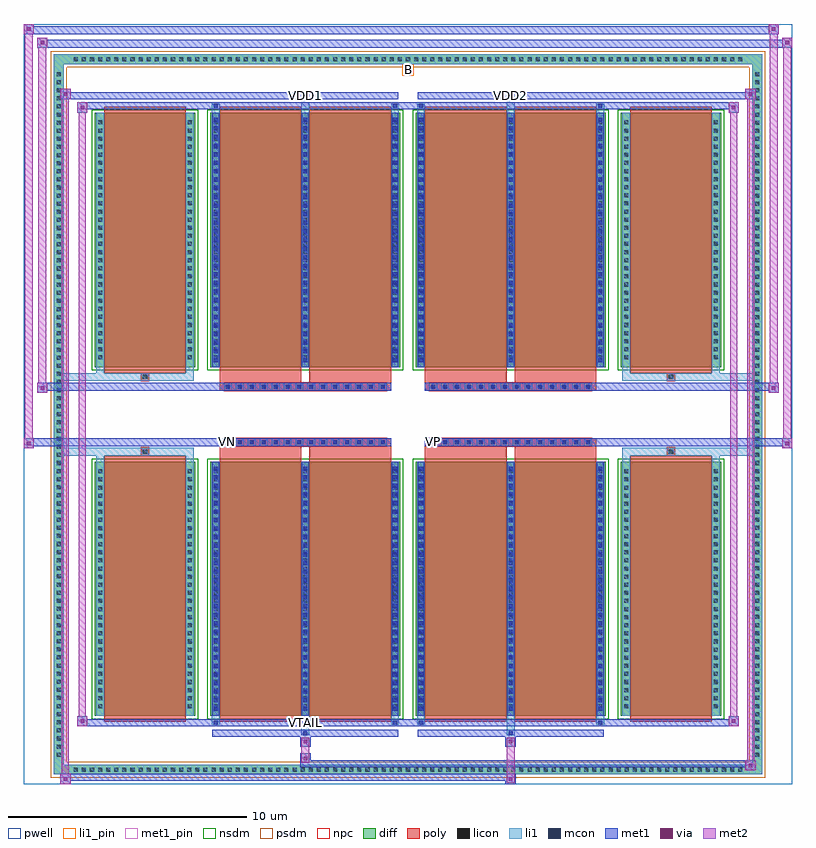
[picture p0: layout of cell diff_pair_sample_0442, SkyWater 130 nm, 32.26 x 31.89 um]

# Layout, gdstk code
import gdstk
lib = gdstk.Library(unit=1e-6, precision=5e-09)
def R(c, l, rs):  # rectangles x0, y0, x1, y1
    for r in rs: c.add(gdstk.rectangle(r[:2], r[2:], *l))
def A(c, l, x, y, w, h, nx, ny, dx, dy):  # array of equal rectangles
    R(c, l, [(x+i*dx, y+j*dy, x+i*dx+w, y+j*dy+h) for i in range(nx) for j in range(ny)])
def P(c, l, *ps):  # polygons
    for p in ps: c.add(gdstk.Polygon(p, *l))
pwell = (64, 44)
diff = (65, 20)
poly = (66, 20)
licon = (66, 44)
li1_pin = (67, 16)
li1 = (67, 20)
mcon = (67, 44)
met1_pin = (68, 16)
met1 = (68, 20)
via = (68, 44)
met2 = (69, 20)
nsdm = (93, 44)
psdm = (94, 20)
npc = (95, 20)

diff_pair_sample_0442 = lib.new_cell('diff_pair_sample_0442')
R(diff_pair_sample_0442, pwell, [(-16.13,-15.51,16.13,16.38), (-13.45,-13.7,-0.01,-0.8), (0.01,-13.7,13.45,-0.8), (-13.45,0.8,-0.01,13.7), (0.01,0.8,13.45,13.7)])
A(diff_pair_sample_0442, diff, -14.145, -15.11, 0.41, 0.41, 83, 2, 0.34, 29.81)
A(diff_pair_sample_0442, diff, -14.86, -14.485, 0.41, 0.41, 1, 85, 0, 0.34)
A(diff_pair_sample_0442, diff, 14.45, -14.485, 0.41, 0.41, 1, 85, 0, 0.34)
R(diff_pair_sample_0442, diff, [(-14.145,-15.11,14.145,-14.7), (-14.86,-14.485,-14.45,14.485), (14.45,-14.485,14.86,14.485), (-13.14,-12.655,-8.93,-1.985), (-8.29,-12.655,-0.32,-1.985), (0.32,-12.655,8.29,-1.985), (8.93,-12.655,13.14,-1.985), (-13.14,1.985,-8.93,12.655), (-8.29,1.985,-0.32,12.655), (0.32,1.985,8.29,12.655), (8.93,1.985,13.14,12.655), (-14.145,14.7,14.145,15.11)])
P(diff_pair_sample_0442, diff, [(14.86,15.11),(-14.86,15.11),(-14.86,-14.7),(-14.45,-14.7),(-14.45,14.7),(14.45,14.7),(14.45,-14.7),(-14.45,-14.7),(-14.86,-14.7),(-14.86,-15.11),(14.86,-15.11)])
A(diff_pair_sample_0442, poly, -7.72, -1.33, 0.33, 0.33, 14, 2, 0.5, 2.33)
A(diff_pair_sample_0442, poly, 0.89, -1.33, 0.33, 0.33, 14, 2, 0.5, 2.33)
R(diff_pair_sample_0442, poly, [(-12.75,-12.905,-9.32,-1.735), (-7.9,-12.905,-4.47,-1.735), (-4.14,-12.905,-0.71,-1.735), (0.71,-12.905,4.14,-1.735), (4.47,-12.905,7.9,-1.735), (9.32,-12.905,12.75,-1.735), (-11.2,-1.735,-10.87,-1.405), (-11.2,-1.735,-10.87,-1.405), (-7.9,-1.735,-4.47,-1.33), (-4.14,-1.735,-0.71,-1.33), (0.71,-1.735,4.14,-1.33), (4.47,-1.735,7.9,-1.33), (10.87,-1.735,11.2,-1.405), (10.87,-1.735,11.2,-1.405), (-7.9,-1.33,-0.71,-1), (0.71,-1.33,7.9,-1), (-7.9,1,-0.71,1.33), (0.71,1,7.9,1.33), (-7.9,1.33,-4.47,1.735), (-4.14,1.33,-0.71,1.735), (0.71,1.33,4.14,1.735), (4.47,1.33,7.9,1.735), (-11.2,1.405,-10.87,1.735), (-11.2,1.405,-10.87,1.735), (10.87,1.405,11.2,1.735), (10.87,1.405,11.2,1.735), (-12.75,1.735,-9.32,12.905), (-7.9,1.735,-4.47,12.905), (-4.14,1.735,-0.71,12.905), (0.71,1.735,4.14,12.905), (4.47,1.735,7.9,12.905), (9.32,1.735,12.75,12.905)])
A(diff_pair_sample_0442, licon, -14.025, -14.99, 0.17, 0.17, 83, 2, 0.34, 29.81)
A(diff_pair_sample_0442, licon, -14.74, -14.365, 0.17, 0.17, 1, 85, 0, 0.34)
A(diff_pair_sample_0442, licon, 14.57, -14.365, 0.17, 0.17, 1, 85, 0, 0.34)
A(diff_pair_sample_0442, licon, -13, -12.335, 0.17, 0.17, 1, 30, 0, 0.34)
A(diff_pair_sample_0442, licon, -9.24, -12.335, 0.17, 0.17, 1, 30, 0, 0.34)
A(diff_pair_sample_0442, licon, -8.15, -12.335, 0.17, 0.17, 3, 30, 3.76, 0.34)
A(diff_pair_sample_0442, licon, 0.46, -12.335, 0.17, 0.17, 3, 30, 3.76, 0.34)
A(diff_pair_sample_0442, licon, 9.07, -12.335, 0.17, 0.17, 1, 30, 0, 0.34)
A(diff_pair_sample_0442, licon, 12.83, -12.335, 0.17, 0.17, 1, 30, 0, 0.34)
A(diff_pair_sample_0442, licon, -7.64, -1.25, 0.17, 0.17, 14, 2, 0.5, 2.33)
A(diff_pair_sample_0442, licon, 0.97, -1.25, 0.17, 0.17, 14, 2, 0.5, 2.33)
A(diff_pair_sample_0442, licon, -13, 2.305, 0.17, 0.17, 1, 30, 0, 0.34)
A(diff_pair_sample_0442, licon, -9.24, 2.305, 0.17, 0.17, 1, 30, 0, 0.34)
A(diff_pair_sample_0442, licon, -8.15, 2.305, 0.17, 0.17, 3, 30, 3.76, 0.34)
A(diff_pair_sample_0442, licon, 0.46, 2.305, 0.17, 0.17, 3, 30, 3.76, 0.34)
A(diff_pair_sample_0442, licon, 9.07, 2.305, 0.17, 0.17, 1, 30, 0, 0.34)
A(diff_pair_sample_0442, licon, 12.83, 2.305, 0.17, 0.17, 1, 30, 0, 0.34)
R(diff_pair_sample_0442, licon, [(-11.12,-1.655,-10.95,-1.485), (10.95,-1.655,11.12,-1.485), (-11.12,1.485,-10.95,1.655), (10.95,1.485,11.12,1.655)])
R(diff_pair_sample_0442, li1_pin, [(-0.25,14.2,0.25,14.7)])
A(diff_pair_sample_0442, li1, -14.105, -15.07, 0.33, 0.33, 83, 2, 0.34, 29.81)
A(diff_pair_sample_0442, li1, -14.82, -14.445, 0.33, 0.33, 1, 85, 0, 0.34)
A(diff_pair_sample_0442, li1, 14.49, -14.445, 0.33, 0.33, 1, 85, 0, 0.34)
A(diff_pair_sample_0442, li1, -8.23, -12.655, 0.33, 10.67, 3, 2, 3.76, 14.64)
A(diff_pair_sample_0442, li1, 0.38, -12.655, 0.33, 10.67, 3, 2, 3.76, 14.64)
A(diff_pair_sample_0442, li1, -8.15, -12.445, 0.17, 0.17, 3, 29, 3.76, 0.36)
A(diff_pair_sample_0442, li1, -8.15, -12.445, 0.17, 10.25, 3, 2, 3.76, 14.64)
A(diff_pair_sample_0442, li1, 0.46, -12.445, 0.17, 0.17, 3, 29, 3.76, 0.36)
A(diff_pair_sample_0442, li1, 0.46, -12.445, 0.17, 10.25, 3, 2, 3.76, 14.64)
A(diff_pair_sample_0442, li1, -13.08, -12.415, 0.33, 0.33, 1, 30, 0, 0.34)
A(diff_pair_sample_0442, li1, -9.32, -12.415, 0.33, 0.33, 1, 30, 0, 0.34)
A(diff_pair_sample_0442, li1, -8.23, -12.415, 0.33, 0.33, 3, 30, 3.76, 0.34)
A(diff_pair_sample_0442, li1, 0.38, -12.415, 0.33, 0.33, 3, 30, 3.76, 0.34)
A(diff_pair_sample_0442, li1, 8.99, -12.415, 0.33, 0.33, 1, 30, 0, 0.34)
A(diff_pair_sample_0442, li1, 12.75, -12.415, 0.33, 0.33, 1, 30, 0, 0.34)
A(diff_pair_sample_0442, li1, -7.72, -1.33, 0.33, 0.33, 14, 2, 0.5, 2.33)
A(diff_pair_sample_0442, li1, 0.89, -1.33, 0.33, 0.33, 14, 2, 0.5, 2.33)
A(diff_pair_sample_0442, li1, -8.15, 2.195, 0.17, 0.17, 3, 29, 3.76, 0.36)
A(diff_pair_sample_0442, li1, 0.46, 2.195, 0.17, 0.17, 3, 29, 3.76, 0.36)
A(diff_pair_sample_0442, li1, -13.08, 2.225, 0.33, 0.33, 1, 30, 0, 0.34)
A(diff_pair_sample_0442, li1, -9.32, 2.225, 0.33, 0.33, 1, 30, 0, 0.34)
A(diff_pair_sample_0442, li1, -8.23, 2.225, 0.33, 0.33, 3, 30, 3.76, 0.34)
A(diff_pair_sample_0442, li1, 0.38, 2.225, 0.33, 0.33, 3, 30, 3.76, 0.34)
A(diff_pair_sample_0442, li1, 8.99, 2.225, 0.33, 0.33, 1, 30, 0, 0.34)
A(diff_pair_sample_0442, li1, 12.75, 2.225, 0.33, 0.33, 1, 30, 0, 0.34)
R(diff_pair_sample_0442, li1, [(-14.86,-15.11,-14.45,-14.7), (-14.86,-15.11,-14.45,-14.7), (-14.45,-15.11,14.45,-14.7), (14.45,-15.11,14.86,-14.7), (14.45,-15.11,14.86,-14.7), (-14.86,-14.7,-14.45,14.7), (14.45,-14.7,14.86,14.7), (-4.47,-13.46,-4.14,-12.655), (-4.39,-13.46,-4.22,-13.29), (4.14,-13.46,4.47,-12.655), (4.22,-13.46,4.39,-13.29), (-8.23,-13.03,-7.9,-12.655), (-8.15,-13.03,-7.98,-12.86), (-0.71,-13.03,-0.38,-12.655), (-0.63,-13.03,-0.46,-12.86), (0.38,-13.03,0.71,-12.655), (0.46,-13.03,0.63,-12.86), (7.9,-13.03,8.23,-12.655), (7.98,-13.03,8.15,-12.86), (-13.08,-12.655,-12.75,-1.985), (-9.32,-12.655,-8.99,-1.985), (8.99,-12.655,9.32,-1.985), (12.75,-12.655,13.08,-1.985), (-13.08,-1.985,-12.75,-1.405), (-9.32,-1.985,-8.99,-1.405), (8.99,-1.985,9.32,-1.405), (12.75,-1.985,13.08,-1.405), (-14.86,-1.735,-11.2,-1.405), (-13.08,-1.735,-11.2,-1.405), (-11.2,-1.735,-10.87,-1.405), (-10.87,-1.735,-8.99,-1.405), (8.99,-1.735,10.87,-1.405), (10.87,-1.735,11.2,-1.405), (10.87,-1.735,14.86,-1.405), (11.2,-1.735,13.08,-1.405), (-14.86,1.405,-11.2,1.735), (-13.08,1.405,-11.2,1.735), (-13.08,1.405,-12.75,1.985), (-11.2,1.405,-10.87,1.735), (-10.87,1.405,-8.99,1.735), (-9.32,1.405,-8.99,1.985), (8.99,1.405,10.87,1.735), (8.99,1.405,9.32,1.985), (10.87,1.405,11.2,1.735), (10.87,1.405,14.86,1.735), (11.2,1.405,13.08,1.735), (12.75,1.405,13.08,1.985), (-13.08,1.985,-12.75,12.655), (-9.32,1.985,-8.99,12.655), (8.99,1.985,9.32,12.655), (12.75,1.985,13.08,12.655), (-8.23,12.655,-7.9,13.03), (-4.47,12.655,-4.14,13.46), (-0.71,12.655,-0.38,13.03), (0.38,12.655,0.71,13.03), (4.14,12.655,4.47,13.46), (7.9,12.655,8.23,13.03), (-8.15,12.86,-7.98,13.03), (-0.63,12.86,-0.46,13.03), (0.46,12.86,0.63,13.03), (7.98,12.86,8.15,13.03), (-4.39,13.29,-4.22,13.46), (4.22,13.29,4.39,13.46), (-14.86,14.7,-14.45,15.11), (-14.86,14.7,-14.45,15.11), (-14.45,14.7,14.45,15.11), (14.45,14.7,14.86,15.11), (14.45,14.7,14.86,15.11)])
A(diff_pair_sample_0442, mcon, -8.15, -12.445, 0.17, 0.17, 3, 29, 3.76, 0.36)
A(diff_pair_sample_0442, mcon, 0.46, -12.445, 0.17, 0.17, 3, 29, 3.76, 0.36)
A(diff_pair_sample_0442, mcon, -7.64, -1.25, 0.17, 0.17, 14, 2, 0.5, 2.33)
A(diff_pair_sample_0442, mcon, 0.97, -1.25, 0.17, 0.17, 14, 2, 0.5, 2.33)
A(diff_pair_sample_0442, mcon, -8.15, 2.195, 0.17, 0.17, 3, 29, 3.76, 0.36)
A(diff_pair_sample_0442, mcon, 0.46, 2.195, 0.17, 0.17, 3, 29, 3.76, 0.36)
R(diff_pair_sample_0442, mcon, [(-4.39,-13.46,-4.22,-13.29), (4.22,-13.46,4.39,-13.29), (-8.15,-13.03,-7.98,-12.86), (-0.63,-13.03,-0.46,-12.86), (0.46,-13.03,0.63,-12.86), (7.98,-13.03,8.15,-12.86), (-8.15,12.86,-7.98,13.03), (-0.63,12.86,-0.46,13.03), (0.46,12.86,0.63,13.03), (7.98,12.86,8.15,13.03), (-4.39,13.29,-4.22,13.46), (4.22,13.29,4.39,13.46)])
R(diff_pair_sample_0442, met1_pin, [(-4.44,-13.07,-4.17,-12.8), (-7.69,-1.29,-7.42,-1.02), (0.92,-1.29,1.19,-1.02), (-4.44,13.25,-4.17,13.52), (4.17,13.25,4.44,13.52)])
A(diff_pair_sample_0442, met1, -8.21, -12.655, 0.29, 10.67, 3, 2, 3.76, 14.64)
A(diff_pair_sample_0442, met1, 0.4, -12.655, 0.29, 10.67, 3, 2, 3.76, 14.64)
A(diff_pair_sample_0442, met1, -8.21, -12.505, 0.29, 0.29, 3, 29, 3.76, 0.36)
A(diff_pair_sample_0442, met1, 0.4, -12.505, 0.29, 0.29, 3, 29, 3.76, 0.36)
A(diff_pair_sample_0442, met1, -7.7, -1.31, 0.29, 0.29, 14, 2, 0.5, 2.33)
A(diff_pair_sample_0442, met1, 0.91, -1.31, 0.29, 0.29, 14, 2, 0.5, 2.33)
A(diff_pair_sample_0442, met1, -8.21, 2.135, 0.29, 0.29, 3, 29, 3.76, 0.36)
A(diff_pair_sample_0442, met1, 0.4, 2.135, 0.29, 0.29, 3, 29, 3.76, 0.36)
R(diff_pair_sample_0442, met1, [(-14.59,-15.51,-14.16,-15.08), (4.09,-15.51,4.52,-15.08), (-14.59,-15.37,4.52,-15.08), (14.16,-14.94,14.59,-14.51), (-4.52,-14.8,14.59,-14.51), (-4.52,-14.66,-4.09,-14.23), (-4.52,-13.95,-4.09,-13.52), (4.09,-13.95,4.52,-13.52), (-8.21,-13.52,-0.4,-13.23), (-4.45,-13.52,-4.16,-13.23), (0.4,-13.52,8.21,-13.23), (4.16,-13.52,4.45,-13.23), (-13.88,-13.09,-13.45,-12.66), (-13.88,-13.09,-8.21,-12.8), (-8.21,-13.09,-7.92,-12.8), (-8.21,-13.09,-0.4,-12.8), (-0.69,-13.09,-0.4,-12.8), (-0.4,-13.09,0.4,-12.8), (0.4,-13.09,0.69,-12.8), (0.4,-13.09,8.21,-12.8), (7.92,-13.09,8.21,-12.8), (8.21,-13.09,13.88,-12.8), (13.45,-13.09,13.88,-12.66), (-16.13,-1.43,-15.7,-1), (15.7,-1.43,16.13,-1), (-16.13,-1.33,-0.71,-1), (-7.9,-1.33,-0.71,-1), (0.71,-1.33,7.9,-1), (0.71,-1.33,16.13,-1), (-15.56,0.9,-15.13,1.33), (15.13,0.9,15.56,1.33), (-15.56,1,-7.9,1.33), (-7.9,1,-0.71,1.33), (0.71,1,7.9,1.33), (7.9,1,15.56,1.33), (-13.88,12.66,-13.45,13.09), (13.45,12.66,13.88,13.09), (-13.88,12.8,-8.21,13.09), (-8.21,12.8,-7.92,13.09), (-8.21,12.8,-0.4,13.09), (-0.69,12.8,-0.4,13.09), (-0.4,12.8,0.4,13.09), (0.4,12.8,0.69,13.09), (0.4,12.8,8.21,13.09), (7.92,12.8,8.21,13.09), (8.21,12.8,13.88,13.09), (-14.59,13.23,-14.16,13.66), (-14.59,13.23,-8.21,13.52), (-8.21,13.23,-0.4,13.52), (-4.45,13.23,-4.16,13.52), (0.4,13.23,8.21,13.52), (4.16,13.23,4.45,13.52), (8.21,13.23,14.59,13.52), (14.16,13.23,14.59,13.66), (-15.56,15.38,-15.13,15.81), (-15.56,15.38,-13.45,15.71), (-13.45,15.38,13.45,15.71), (13.45,15.38,16.13,15.71), (15.7,15.38,16.13,15.81), (-16.13,15.95,-15.7,16.38), (-16.13,15.95,-13.45,16.28), (-13.45,15.95,13.45,16.28), (13.45,15.95,15.56,16.28), (15.13,15.95,15.56,16.38)])
R(diff_pair_sample_0442, via, [(-14.45,-15.37,-14.3,-15.22), (4.23,-15.37,4.38,-15.22), (14.3,-14.8,14.45,-14.65), (-4.38,-14.52,-4.23,-14.37), (-4.38,-13.81,-4.23,-13.66), (4.23,-13.81,4.38,-13.66), (-13.74,-12.95,-13.59,-12.8), (13.59,-12.95,13.74,-12.8), (-15.99,-1.29,-15.84,-1.14), (15.84,-1.29,15.99,-1.14), (-15.42,1.04,-15.27,1.19), (15.27,1.04,15.42,1.19), (-13.74,12.8,-13.59,12.95), (13.59,12.8,13.74,12.95), (-14.45,13.37,-14.3,13.52), (14.3,13.37,14.45,13.52), (-15.42,15.52,-15.27,15.67), (15.84,15.52,15.99,15.67), (-15.99,16.09,-15.84,16.24), (15.27,16.09,15.42,16.24)])
R(diff_pair_sample_0442, met2, [(-14.59,-15.51,-14.16,-15.08), (-14.52,-15.51,-14.23,13.66), (-14.23,-15.51,-14.16,-15.08), (-14.54,-15.46,-14.21,-15.13), (4.14,-15.46,4.47,-15.13), (4.14,-15.13,4.47,-13.9), (14.16,-14.94,14.59,-14.51), (14.23,-14.94,14.52,13.66), (14.52,-14.94,14.59,-14.51), (14.21,-14.89,14.54,-14.56), (-4.47,-14.61,-4.14,-14.28), (-4.47,-14.28,-4.14,-13.9), (-4.47,-13.9,-4.14,-13.57), (4.14,-13.9,4.47,-13.57), (-13.88,-13.09,-13.45,-12.66), (-13.81,-13.09,-13.52,13.09), (-13.52,-13.09,-13.45,-12.66), (13.45,-13.09,13.88,-12.66), (13.52,-13.09,13.81,13.09), (13.81,-13.09,13.88,-12.66), (-13.83,-13.04,-13.5,-12.71), (13.5,-13.04,13.83,-12.71), (-16.13,-1.43,-15.7,-1), (-16.08,-1.43,-15.75,16.38), (-15.75,-1.43,-15.7,-1), (15.7,-1.43,16.13,-1), (15.75,-1.43,16.08,15.81), (16.08,-1.43,16.13,-1), (-16.08,-1.38,-15.75,-1.05), (15.75,-1.38,16.08,-1.05), (-15.56,0.9,-15.13,1.33), (-15.51,0.9,-15.18,15.81), (-15.18,0.9,-15.13,1.33), (15.13,0.9,15.56,1.33), (15.18,0.9,15.51,16.38), (15.51,0.9,15.56,1.33), (-15.51,0.95,-15.18,1.28), (15.18,0.95,15.51,1.28), (-13.88,12.66,-13.45,13.09), (-13.52,12.66,-13.45,13.09), (13.45,12.66,13.88,13.09), (13.81,12.66,13.88,13.09), (-13.83,12.71,-13.5,13.04), (13.5,12.71,13.83,13.04), (-14.59,13.23,-14.16,13.66), (-14.23,13.23,-14.16,13.66), (14.16,13.23,14.59,13.66), (14.52,13.23,14.59,13.66), (-14.54,13.28,-14.21,13.61), (14.21,13.28,14.54,13.61), (-15.56,15.38,-15.13,15.81), (-15.18,15.38,-15.13,15.81), (15.7,15.38,16.13,15.81), (16.08,15.38,16.13,15.81), (-15.51,15.43,-15.18,15.76), (15.75,15.43,16.08,15.76), (-16.13,15.95,-15.7,16.38), (-15.75,15.95,-15.7,16.38), (15.13,15.95,15.56,16.38), (15.51,15.95,15.56,16.38), (-16.08,16,-15.75,16.33), (15.18,16,15.51,16.33)])
R(diff_pair_sample_0442, nsdm, [(-13.27,-12.785,-8.8,-1.855), (-8.42,-12.785,-0.19,-1.855), (0.19,-12.785,8.42,-1.855), (8.8,-12.785,13.27,-1.855), (-13.27,1.855,-8.8,12.785), (-8.42,1.855,-0.19,12.785), (0.19,1.855,8.42,12.785), (8.8,1.855,13.27,12.785)])
P(diff_pair_sample_0442, psdm, [(14.99,15.24),(-14.99,15.24),(-14.99,-14.57),(-14.32,-14.57),(-14.32,14.57),(14.32,14.57),(14.32,-14.57),(-14.32,-14.57),(-14.99,-14.57),(-14.99,-15.24),(14.99,-15.24)])
A(diff_pair_sample_0442, npc, -7.74, -1.35, 0.37, 0.37, 14, 2, 0.5, 2.33)
A(diff_pair_sample_0442, npc, 0.87, -1.35, 0.37, 0.37, 14, 2, 0.5, 2.33)
R(diff_pair_sample_0442, npc, [(-11.22,-1.755,-10.85,-1.385), (10.85,-1.755,11.22,-1.385), (-7.74,-1.35,-6.87,-0.98), (-7.74,-1.35,-6.87,-0.98), (-7.24,-1.35,-6.37,-0.98), (-7.24,-1.35,-6.37,-0.98), (-6.74,-1.35,-5.87,-0.98), (-6.74,-1.35,-5.87,-0.98), (-6.24,-1.35,-5.37,-0.98), (-6.24,-1.35,-5.37,-0.98), (-5.74,-1.35,-4.87,-0.98), (-5.74,-1.35,-4.87,-0.98), (-5.24,-1.35,-4.37,-0.98), (-5.24,-1.35,-4.37,-0.98), (-4.74,-1.35,-3.87,-0.98), (-4.74,-1.35,-3.87,-0.98), (-4.24,-1.35,-3.37,-0.98), (-4.24,-1.35,-3.37,-0.98), (-3.74,-1.35,-2.87,-0.98), (-3.74,-1.35,-2.87,-0.98), (-3.24,-1.35,-2.37,-0.98), (-3.24,-1.35,-2.37,-0.98), (-2.74,-1.35,-1.87,-0.98), (-2.74,-1.35,-1.87,-0.98), (-2.24,-1.35,-1.37,-0.98), (-2.24,-1.35,-1.37,-0.98), (-1.74,-1.35,-0.87,-0.98), (-1.74,-1.35,-0.87,-0.98), (0.87,-1.35,1.74,-0.98), (0.87,-1.35,1.74,-0.98), (1.37,-1.35,2.24,-0.98), (1.37,-1.35,2.24,-0.98), (1.87,-1.35,2.74,-0.98), (1.87,-1.35,2.74,-0.98), (2.37,-1.35,3.24,-0.98), (2.37,-1.35,3.24,-0.98), (2.87,-1.35,3.74,-0.98), (2.87,-1.35,3.74,-0.98), (3.37,-1.35,4.24,-0.98), (3.37,-1.35,4.24,-0.98), (3.87,-1.35,4.74,-0.98), (3.87,-1.35,4.74,-0.98), (4.37,-1.35,5.24,-0.98), (4.37,-1.35,5.24,-0.98), (4.87,-1.35,5.74,-0.98), (4.87,-1.35,5.74,-0.98), (5.37,-1.35,6.24,-0.98), (5.37,-1.35,6.24,-0.98), (5.87,-1.35,6.74,-0.98), (5.87,-1.35,6.74,-0.98), (6.37,-1.35,7.24,-0.98), (6.37,-1.35,7.24,-0.98), (6.87,-1.35,7.74,-0.98), (6.87,-1.35,7.74,-0.98), (-7.74,0.98,-6.87,1.35), (-7.74,0.98,-6.87,1.35), (-7.24,0.98,-6.37,1.35), (-7.24,0.98,-6.37,1.35), (-6.74,0.98,-5.87,1.35), (-6.74,0.98,-5.87,1.35), (-6.24,0.98,-5.37,1.35), (-6.24,0.98,-5.37,1.35), (-5.74,0.98,-4.87,1.35), (-5.74,0.98,-4.87,1.35), (-5.24,0.98,-4.37,1.35), (-5.24,0.98,-4.37,1.35), (-4.74,0.98,-3.87,1.35), (-4.74,0.98,-3.87,1.35), (-4.24,0.98,-3.37,1.35), (-4.24,0.98,-3.37,1.35), (-3.74,0.98,-2.87,1.35), (-3.74,0.98,-2.87,1.35), (-3.24,0.98,-2.37,1.35), (-3.24,0.98,-2.37,1.35), (-2.74,0.98,-1.87,1.35), (-2.74,0.98,-1.87,1.35), (-2.24,0.98,-1.37,1.35), (-2.24,0.98,-1.37,1.35), (-1.74,0.98,-0.87,1.35), (-1.74,0.98,-0.87,1.35), (0.87,0.98,1.74,1.35), (0.87,0.98,1.74,1.35), (1.37,0.98,2.24,1.35), (1.37,0.98,2.24,1.35), (1.87,0.98,2.74,1.35), (1.87,0.98,2.74,1.35), (2.37,0.98,3.24,1.35), (2.37,0.98,3.24,1.35), (2.87,0.98,3.74,1.35), (2.87,0.98,3.74,1.35), (3.37,0.98,4.24,1.35), (3.37,0.98,4.24,1.35), (3.87,0.98,4.74,1.35), (3.87,0.98,4.74,1.35), (4.37,0.98,5.24,1.35), (4.37,0.98,5.24,1.35), (4.87,0.98,5.74,1.35), (4.87,0.98,5.74,1.35), (5.37,0.98,6.24,1.35), (5.37,0.98,6.24,1.35), (5.87,0.98,6.74,1.35), (5.87,0.98,6.74,1.35), (6.37,0.98,7.24,1.35), (6.37,0.98,7.24,1.35), (6.87,0.98,7.74,1.35), (6.87,0.98,7.74,1.35), (-11.22,1.385,-10.85,1.755), (10.85,1.385,11.22,1.755)])
diff_pair_sample_0442.add(gdstk.Label('VTAIL', (-4.305,-12.935), layer=68, texttype=5))
diff_pair_sample_0442.add(gdstk.Label('VN', (-7.555,-1.155), layer=68, texttype=5))
diff_pair_sample_0442.add(gdstk.Label('VP', (1.055,-1.155), layer=68, texttype=5))
diff_pair_sample_0442.add(gdstk.Label('B', (0,14.45), layer=67, texttype=5))
diff_pair_sample_0442.add(gdstk.Label('VDD2', (4.305,13.385), layer=68, texttype=5))
diff_pair_sample_0442.add(gdstk.Label('VDD1', (-4.305,13.385), layer=68, texttype=5))

lib.write_gds('diff_pair_sample_0442.gds')
